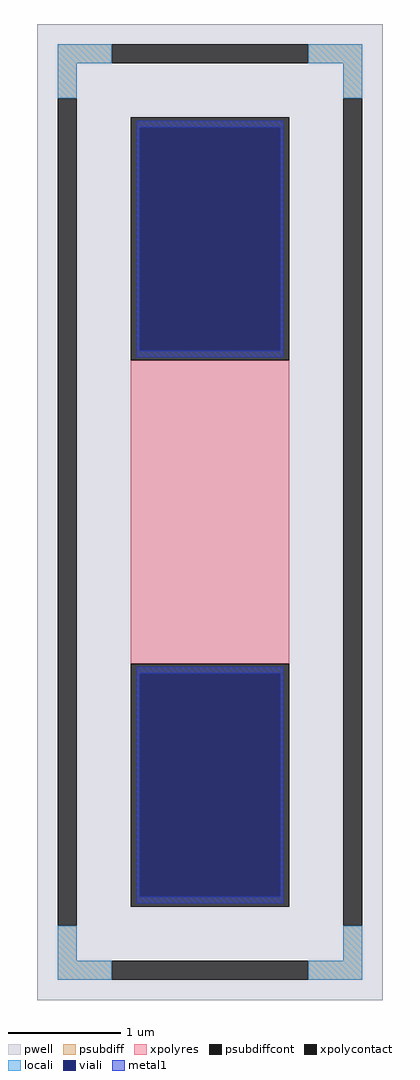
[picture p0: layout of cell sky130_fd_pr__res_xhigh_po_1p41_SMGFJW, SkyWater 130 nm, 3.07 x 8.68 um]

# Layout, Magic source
magic
tech sky130A
magscale 1 2
<< pwell >>
rect -307 -868 307 868
<< psubdiff >>
rect -271 798 -175 832
rect 175 798 271 832
rect -271 736 -237 798
rect 237 736 271 798
rect -271 -798 -237 -736
rect 237 -798 271 -736
rect -271 -832 -175 -798
rect 175 -832 271 -798
<< psubdiffcont >>
rect -175 798 175 832
rect -271 -736 -237 736
rect 237 -736 271 736
rect -175 -832 175 -798
<< xpolycontact >>
rect -141 270 141 702
rect -141 -702 141 -270
<< xpolyres >>
rect -141 -270 141 270
<< locali >>
rect -271 798 -175 832
rect 175 798 271 832
rect -271 736 -237 798
rect 237 736 271 798
rect -271 -798 -237 -736
rect 237 -798 271 -736
rect -271 -832 -175 -798
rect 175 -832 271 -798
<< viali >>
rect -125 287 125 684
rect -125 -684 125 -287
<< metal1 >>
rect -131 684 131 696
rect -131 287 -125 684
rect 125 287 131 684
rect -131 275 131 287
rect -131 -287 131 -275
rect -131 -684 -125 -287
rect 125 -684 131 -287
rect -131 -696 131 -684
<< properties >>
string FIXED_BBOX -254 -815 254 815
string gencell sky130_fd_pr__res_xhigh_po_1p41
string library sky130
string parameters w 1.410 l 2.86 m 1 nx 1 wmin 1.410 lmin 0.50 rho 2000 val 4.323k dummy 0 dw 0.0 term 188.2 sterm 0.0 caplen 0 wmax 1.410 guard 1 glc 1 grc 1 gtc 1 gbc 1 compatible {sky130_fd_pr__res_xhigh_po_0p35  sky130_fd_pr__res_xhigh_po_0p69 sky130_fd_pr__res_xhigh_po_1p41  sky130_fd_pr__res_xhigh_po_2p85 sky130_fd_pr__res_xhigh_po_5p73} snake 0 full_metal 1 n_guard 0 hv_guard 0 vias 1 viagb 0 viagt 0 viagl 0 viagr 0
<< end >>
